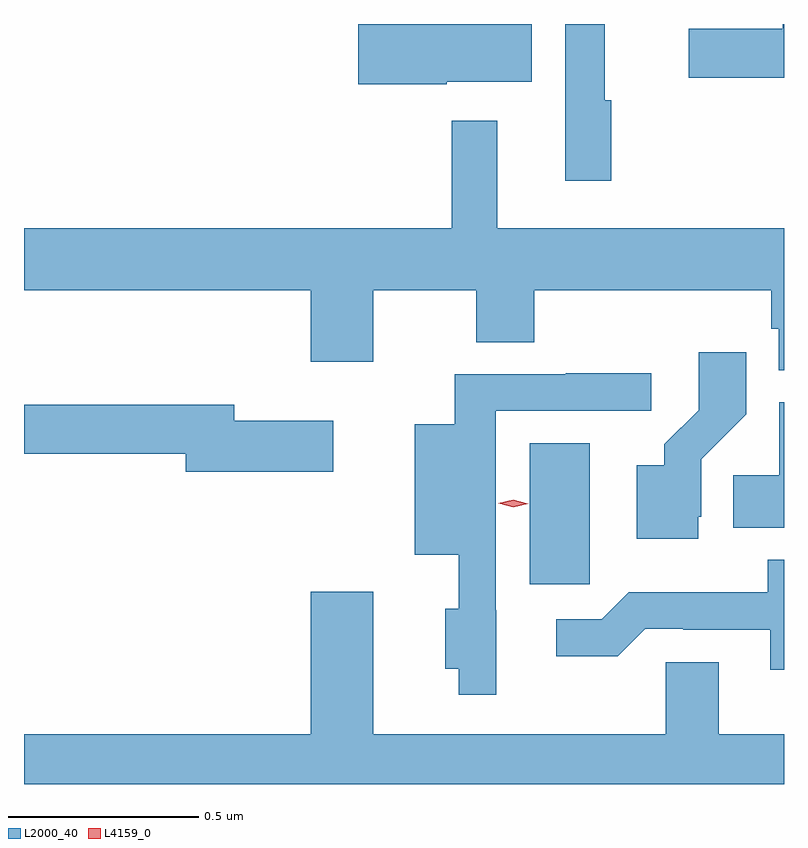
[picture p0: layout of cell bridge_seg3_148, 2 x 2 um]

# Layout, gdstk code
import gdstk
lib = gdstk.Library(unit=1e-6, precision=1e-09)
def R(c, l, rs):  # rectangles x0, y0, x1, y1
    for r in rs: c.add(gdstk.rectangle(r[:2], r[2:], *l))
def P(c, l, *ps):  # polygons
    for p in ps: c.add(gdstk.Polygon(p, *l))
L2000_40 = (2000, 40)
L4159_0 = (4159, 0)

bridge_seg3_148 = lib.new_cell('bridge_seg3_148')
R(bridge_seg3_148, L2000_40, [(573.176,693.483,573.334,693.854)])
P(bridge_seg3_148, L2000_40, [(573.845,694.957),(573.842,694.957),(573.842,694.945),(573.594,694.945),(573.594,694.816),(573.845,694.816)],
  [(572.958,694.805),(573.181,694.805),(573.181,694.957),(572.724,694.957),(572.724,694.798),(572.958,694.798)],
  [(573.391,694.757),(573.373,694.757),(573.373,694.957),(573.269,694.957),(573.269,694.545),(573.391,694.545)],
  [(573.845,694.42),(573.091,694.42),(573.091,694.702),(572.97,694.702),(572.97,694.42),(571.845,694.42),(571.845,694.256),(572.6,694.256),(572.6,694.068),(572.764,694.068),(572.764,694.256),(573.035,694.256),(573.035,694.12),(573.188,694.12),(573.188,694.256),(573.811,694.256),(573.811,694.155),(573.831,694.155),(573.831,694.046),(573.845,694.046)],
  [(573.619,693.66),(573.627,693.66),(573.627,693.811),(573.746,693.93),(573.746,694.093),(573.621,694.093),(573.621,693.941),(573.53,693.851),(573.53,693.796),(573.458,693.796),(573.458,693.603),(573.619,693.603)],
  [(573.088,693.414),(573.087,693.414),(573.087,693.939),(573.496,693.939),(573.496,694.038),(573.271,694.038),(573.271,694.035),(572.979,694.035),(572.979,693.904),(572.873,693.904),(572.873,693.56),(572.989,693.56),(572.989,693.418),(572.954,693.418),(572.954,693.26),(572.989,693.26),(572.989,693.192),(573.088,693.192)],
  [(573.845,693.961),(573.833,693.961),(573.833,693.77),(573.712,693.77),(573.712,693.632),(573.845,693.632)],
  [(572.659,693.913),(572.398,693.913),(572.398,693.955),(571.845,693.955),(571.845,693.826),(572.27,693.826),(572.27,693.779),(572.659,693.779)],
  [(573.845,693.547),(573.802,693.547),(573.802,693.461),(573.437,693.461),(573.366,693.39),(573.246,693.39),(573.246,693.293),(573.407,693.293),(573.48,693.366),(573.58,693.366),(573.58,693.363),(573.809,693.363),(573.809,693.258),(573.845,693.258)],
  [(573.845,693.088),(573.673,693.088),(573.673,693.278),(573.534,693.278),(573.534,693.088),(572.764,693.088),(572.764,693.463),(572.6,693.463),(572.6,693.088),(571.845,693.088),(571.845,692.957),(573.845,692.957)])
P(bridge_seg3_148, L4159_0, [(573.132,693.685),(573.093,693.696),(573.093,693.696),(573.093,693.696),(573.133,693.705),(573.172,693.695),(573.172,693.694),(573.172,693.694)])

lib.write_gds('bridge_seg3_148.gds')
